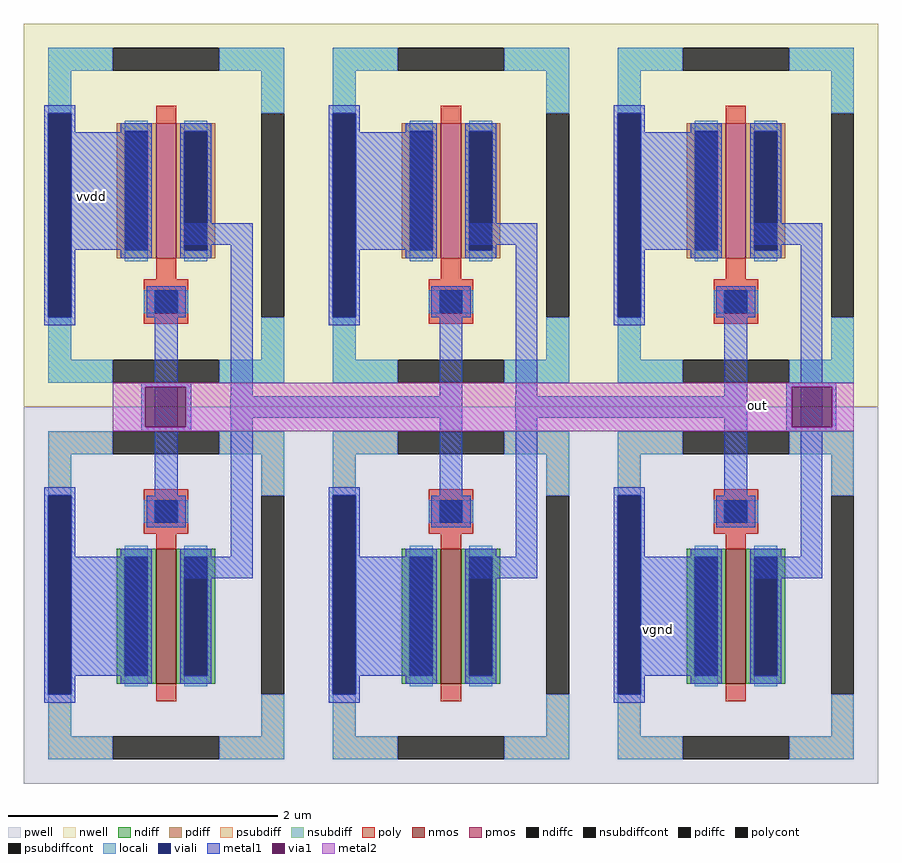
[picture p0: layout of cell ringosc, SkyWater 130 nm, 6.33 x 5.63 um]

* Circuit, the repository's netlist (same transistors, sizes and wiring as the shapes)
** sch_path: /home/ahmadjabar/project/inverter/ringosc.sch
.subckt ringosc vvdd out vgnd
*.PININFO vvdd:B vgnd:B out:O
x1 vvdd net2 net1 vgnd inverter
x2 vvdd out net2 vgnd inverter
x3 vvdd net1 out vgnd inverter
.ends

* expanding   symbol:  inverter.sym # of pins=4
** sym_path: /home/ahmadjabar/project/inverter/inverter.sym
** sch_path: /home/ahmadjabar/project/inverter/inverter.sch
.subckt inverter vvdd out in vgnd
*.PININFO in:I out:O vvdd:B vgnd:B
XM1 out in vgnd vgnd sky130_fd_pr__nfet_01v8 L=0.15 W=1 nf=1 m=1
XM2 out in vvdd vvdd sky130_fd_pr__pfet_01v8 L=0.15 W=1 nf=1 m=1
.ends

.end

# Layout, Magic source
magic
tech sky130A
magscale 1 2
<< metal1 >>
rect 90 854 120 890
rect 174 588 248 594
rect 174 528 180 588
rect 240 528 248 588
rect 1130 588 1204 594
rect 306 542 650 574
rect 728 542 1072 574
rect 174 522 248 528
rect 1130 528 1138 588
rect 1198 528 1204 588
rect 1130 522 1204 528
rect 934 222 964 258
<< via1 >>
rect 180 528 240 588
rect 1138 528 1198 588
<< metal2 >>
rect 132 588 1230 594
rect 132 528 180 588
rect 240 528 1138 588
rect 1198 528 1230 588
rect 132 522 1230 528
use inverter  x1
transform 1 0 51 0 1 53
box -51 -53 371 1073
use inverter  x2
transform 1 0 473 0 1 53
box -51 -53 371 1073
use inverter  x3
transform 1 0 895 0 1 53
box -51 -53 371 1073
<< labels >>
flabel metal1 100 870 102 870 0 FreeSans 160 0 0 0 vvdd
port 0 nsew
flabel metal1 940 228 942 228 0 FreeSans 160 0 0 0 vgnd
port 1 nsew
flabel metal2 1086 560 1088 560 0 FreeSans 160 0 0 0 out
port 2 nsew
<< end >>

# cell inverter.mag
magic
tech sky130A
magscale 1 2
<< pwell >>
rect 246 251 288 283
<< viali >>
rect -15 638 19 940
rect -15 79 19 374
<< metal1 >>
rect -21 940 25 952
rect -21 638 -15 940
rect 19 912 25 940
rect 19 738 133 912
rect 186 745 288 777
rect 19 638 25 738
rect -21 626 25 638
rect -21 374 25 386
rect -21 79 -15 374
rect 19 283 25 374
rect 143 333 177 678
rect 256 283 288 745
rect 19 107 133 283
rect 187 251 288 283
rect 19 79 25 107
rect -21 67 25 79
use sky130_fd_pr__nfet_01v8_64Z3AY  XM1
transform 1 0 160 0 1 226
box -211 -279 211 279
use sky130_fd_pr__pfet_01v8_LGS3BL  XM2
transform 1 0 160 0 1 789
box -211 -284 211 284
<< labels >>
flabel metal1 54 825 54 825 0 FreeSans 160 0 0 0 vvdd
port 0 nsew
flabel metal1 54 194 54 194 0 FreeSans 160 0 0 0 vgnd
port 1 nsew
flabel metal1 159 505 159 505 0 FreeSans 160 0 0 0 in
port 2 nsew
flabel metal1 272 505 272 505 0 FreeSans 160 0 0 0 out
port 3 nsew
<< end >>

# cell sky130_fd_pr__nfet_01v8_64Z3AY: kit device sky130_fd_pr__nfet_01v8, w 1.0 l 0.15 m 1 nf 1 diffcov 100 polycov 100 guard 1 glc 1 grc 1 gtc 1 gbc 1 tbcov 100 rlcov 100 topc 1 botc 0 poverlap 0 doverlap 1 lmin 0.15 wmin 0.42 compatible {sky130_fd_pr__nfet_01v8 sky130_fd_pr__nfet_01v8_lvt sky130_fd_bs_flash__special_sonosfet_star sky130_fd_pr__nfet_g5v0d10v5 sky130_fd_pr__nfet_05v0_nvt sky130_fd_pr__nfet_03v3_nvt} full_metal 1 viasrc 100 viadrn 100 viagate 100 viagb 0 viagr 0 viagl 0 viagt 0

# cell sky130_fd_pr__pfet_01v8_LGS3BL: kit device sky130_fd_pr__pfet_01v8, w 1.0 l 0.15 m 1 nf 1 diffcov 100 polycov 100 guard 1 glc 1 grc 1 gtc 1 gbc 1 tbcov 100 rlcov 100 topc 0 botc 1 poverlap 0 doverlap 1 lmin 0.15 wmin 0.42 compatible {sky130_fd_pr__pfet_01v8 sky130_fd_pr__pfet_01v8_lvt sky130_fd_pr__pfet_01v8_hvt sky130_fd_pr__pfet_g5v0d10v5} full_metal 1 viasrc 100 viadrn 100 viagate 100 viagb 0 viagr 0 viagl 0 viagt 0
